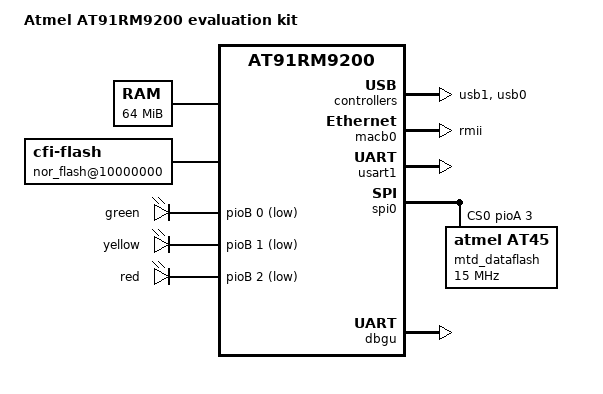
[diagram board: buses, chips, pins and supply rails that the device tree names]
/*
 * at91rm9200ek.dts - Device Tree file for Atmel AT91RM9200 evaluation kit
 *
 *  Copyright (C) 2012 Joachim Eastwood <manabian@gmail.com>
 *
 * Licensed under GPLv2 only
 */
/dts-v1/;
#include "at91rm9200.dtsi"

/ {
	model = "Atmel AT91RM9200 evaluation kit";
	compatible = "atmel,at91rm9200ek", "atmel,at91rm9200";

	memory {
		reg = <0x20000000 0x4000000>;
	};

	clocks {
		#address-cells = <1>;
		#size-cells = <1>;
		ranges;

		main_clock: clock@0 {
			compatible = "atmel,osc", "fixed-clock";
			clock-frequency = <18432000>;
		};

		slow_xtal {
			clock-frequency = <32768>;
		};

		main_xtal {
			clock-frequency = <18432000>;
		};
	};

	ahb {
		apb {
			usb1: gadget@fffb0000 {
				atmel,vbus-gpio = <&pioD 4 GPIO_ACTIVE_HIGH>;
				atmel,pullup-gpio = <&pioD 5 GPIO_ACTIVE_HIGH>;
				status = "okay";
			};

			macb0: ethernet@fffbc000 {
				phy-mode = "rmii";
				status = "okay";

				phy0: ethernet-phy {
					interrupt-parent = <&pioC>;
					interrupts = <4 IRQ_TYPE_EDGE_BOTH>;
				};
			};

			usart1: serial@fffc4000 {
				pinctrl-0 =
						<&pinctrl_uart1
						 &pinctrl_uart1_rts
						 &pinctrl_uart1_cts
						 &pinctrl_uart1_dtr_dsr
						 &pinctrl_uart1_dcd
						 &pinctrl_uart1_ri>;
				status = "okay";
			};

			spi0: spi@fffe0000 {
				status = "okay";
				cs-gpios = <&pioA 3 0>, <0>, <0>, <0>;
				mtd_dataflash@0 {
					compatible = "atmel,at45", "atmel,dataflash";
					spi-max-frequency = <15000000>;
					reg = <0>;
				};
			};

			dbgu: serial@fffff200 {
				status = "okay";
			};

			rtc: rtc@fffffe00 {
				status = "okay";
			};
		};

		usb0: ohci@00300000 {
			num-ports = <2>;
			status = "okay";
		};

		nor_flash@10000000 {
			compatible = "cfi-flash";
			reg = <0x10000000 0x800000>;
			linux,mtd-name = "physmap-flash.0";
			bank-width = <2>;
			#address-cells = <1>;
			#size-cells = <1>;

			barebox@0 {
				label = "barebox";
				reg = <0x00000 0x40000>;
			};

			bareboxenv@40000 {
				label = "bareboxenv";
				reg = <0x40000 0x10000>;
			};

			kernel@50000 {
				label = "kernel";
				reg = <0x50000 0x300000>;
			};

			root@350000  {
				label = "root";
				reg = <0x350000 0x4B0000>;
			};
		};
	};

	leds {
		compatible = "gpio-leds";

		ds2 {
			label = "green";
			gpios = <&pioB 0 GPIO_ACTIVE_LOW>;
			linux,default-trigger = "mmc0";
		};

		ds4 {
			label = "yellow";
			gpios = <&pioB 1 GPIO_ACTIVE_LOW>;
			linux,default-trigger = "heartbeat";
		};

		ds6 {
			label = "red";
			gpios = <&pioB 2 GPIO_ACTIVE_LOW>;
		};
	};
};
